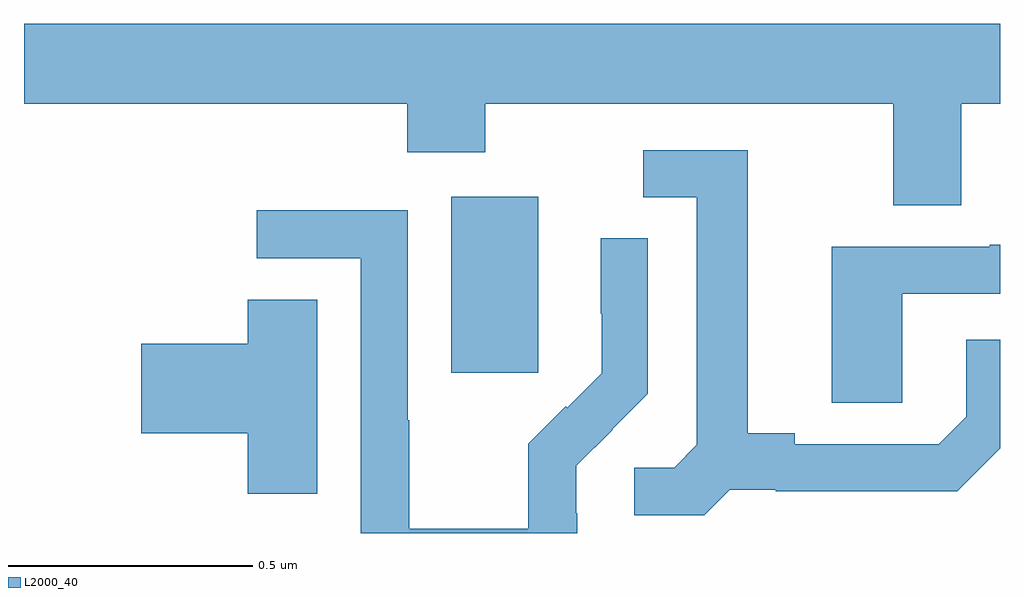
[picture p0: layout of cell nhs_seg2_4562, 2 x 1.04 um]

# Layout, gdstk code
import gdstk
lib = gdstk.Library(unit=1e-6, precision=1e-09)
def R(c, l, rs):  # rectangles x0, y0, x1, y1
    for r in rs: c.add(gdstk.rectangle(r[:2], r[2:], *l))
def P(c, l, *ps):  # polygons
    for p in ps: c.add(gdstk.Polygon(p, *l))
L2000_40 = (2000, 40)

nhs_seg2_4562 = lib.new_cell('nhs_seg2_4562')
R(nhs_seg2_4562, L2000_40, [(168.875,603.129,169.054,603.49)])
P(nhs_seg2_4562, L2000_40, [(169.921,603.68),(170,603.68),(170,603.844),(168,603.844),(168,603.68),(168.785,603.68),(168.785,603.581),(168.945,603.581),(168.945,603.68),(169.781,603.68),(169.781,603.472),(169.921,603.472)],
  [(169.446,602.889),(169.54,602.889),(169.54,602.886),(169.912,602.886),(170,602.974),(170,603.196),(169.931,603.196),(169.931,603.039),(169.874,602.982),(169.579,602.982),(169.579,603.005),(169.483,603.005),(169.483,603.585),(169.269,603.585),(169.269,603.489),(169.379,603.489),(169.379,602.981),(169.332,602.934),(169.251,602.934),(169.251,602.837),(169.394,602.837)],
  [(169.134,602.841),(169.132,602.841),(169.132,602.938),(169.206,603.012),(169.205,603.013),(169.278,603.086),(169.278,603.404),(169.182,603.404),(169.182,603.25),(169.184,603.25),(169.184,603.128),(169.113,603.057),(169.11,603.06),(169.033,602.983),(169.033,602.809),(168.789,602.809),(168.789,603.032),(168.786,603.032),(168.786,603.462),(168.477,603.462),(168.477,603.363),(168.69,603.363),(168.69,602.8),(169.134,602.8)],
  [(169.8,603.291),(170,603.291),(170,603.391),(169.979,603.391),(169.979,603.387),(169.655,603.387),(169.655,603.067),(169.8,603.067)],
  [(168.601,603.278),(168.458,603.278),(168.458,603.188),(168.24,603.188),(168.24,603.005),(168.458,603.005),(168.458,602.881),(168.601,602.881)])

lib.write_gds('nhs_seg2_4562.gds')
